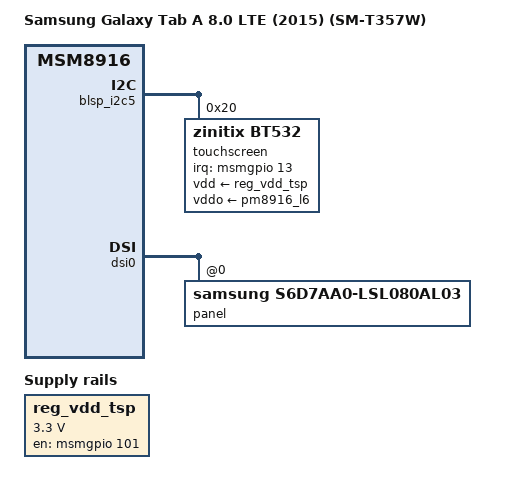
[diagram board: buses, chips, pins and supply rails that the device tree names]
// SPDX-License-Identifier: GPL-2.0-only

/dts-v1/;

#include "msm8916-samsung-gt5-common.dtsi"


/ {
	model = "Samsung Galaxy Tab A 8.0 LTE (2015) (SM-T357W)";
	compatible = "samsung,gt58ltebmc", "qcom,msm8916";

	reg_vdd_tsp: regulator-vdd-tsp {
		compatible = "regulator-fixed";
		regulator-name = "vdd_tsp";
		regulator-min-microvolt = <3300000>;
		regulator-max-microvolt = <3300000>;

		gpio = <&msmgpio 101 0>;
		enable-active-high;

		pinctrl-names = "default";
		pinctrl-0 = <&tsp_en_default>;		
	};
};

&blsp_i2c5 {
	status = "okay";

	/*
	 * Actual IC is Zinitix bt532.
	 * It seems compatible enough with bt541 for basic functionality.
	 */
	touchscreen@20 {
		compatible = "zinitix,bt532", "zinitix,bt541";
		reg = <0x20>;
		interrupt-parent = <&msmgpio>;
		interrupts = <13 0>;

		touchscreen-size-x = <768>;
		touchscreen-size-y = <1024>;

		zinitix,mode = <2>;

		vdd-supply = <&reg_vdd_tsp>;
		vddo-supply = <&pm8916_l6>;
		pinctrl-names = "default";
		pinctrl-0 = <&tsp_int_default>;
	};
};

&dsi0 {
	panel@0 {
		compatible = "samsung,s6d7aa0-lsl080al03";
	};
};

&msmgpio {
	tsp_en_default: tsp_en_default {
		pinmux {
			function = "gpio";
			pins = "gpio101";
		};
		pinconf {
			pins = "gpio101";
			drive-strength = <2>;
			bias-disable;
		};
	};
};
